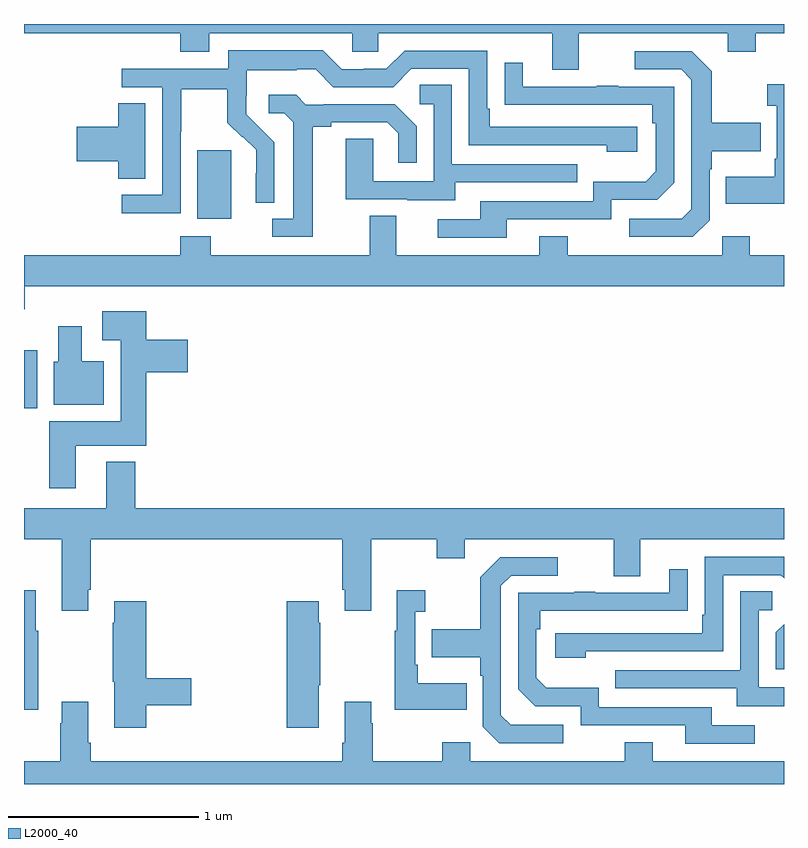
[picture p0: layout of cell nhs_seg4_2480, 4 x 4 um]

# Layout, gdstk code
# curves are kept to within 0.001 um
import gdstk
lib = gdstk.Library(unit=1e-6, precision=1e-09)
def R(c, l, rs):  # rectangles x0, y0, x1, y1
    for r in rs: c.add(gdstk.rectangle(r[:2], r[2:], *l))
def P(c, l, *ps):  # polygons
    for p in ps: c.add(gdstk.Polygon(p, *l))
L2000_40 = (2000, 40)

nhs_seg4_2480 = lib.new_cell('nhs_seg4_2480')
R(nhs_seg4_2480, L2000_40, [(241,762.878,241.069,763.183), (241.913,763.874,242.092,764.235)])
P(nhs_seg4_2480, L2000_40, [(241,764.852),(241.823,764.852),(241.823,764.753),(241.975,764.753),(241.975,764.852),(242.727,764.852),(242.727,764.754),(242.865,764.754),(242.865,764.852),(243.779,764.852),(243.779,764.658),(243.919,764.658),(243.919,764.852),(244.703,764.852),(244.703,764.753),(244.851,764.753),(244.851,764.852),(245,764.852),(245,764.9),(241,764.9)],
  [(241.824,764.332),(241.827,764.332),(241.827,764.556),(242.071,764.556),(242.071,764.381),(242.148,764.304),(242.151,764.307),(242.222,764.237),(242.222,764.114),(242.22,764.114),(242.22,763.96),(242.316,763.96),(242.316,764.278),(242.17,764.426),(242.17,764.523),(242.172,764.523),(242.172,764.657),(242.435,764.657),(242.435,764.661),(242.535,764.661),(242.628,764.568),(242.943,764.568),(243.039,764.664),(243.342,764.664),(243.342,764.262),(244.067,764.262),(244.067,764.228),(244.228,764.228),(244.228,764.358),(243.451,764.358),(243.451,764.455),(243.438,764.455),(243.438,764.76),(243.003,764.76),(242.907,764.664),(242.789,764.664),(242.789,764.661),(242.673,764.661),(242.573,764.761),(242.076,764.761),(242.076,764.664),(241.515,764.664),(241.515,764.568),(241.728,764.568),(241.728,764.001),(241.515,764.001),(241.515,763.903),(241.824,763.903)],
  [(244.608,763.866),(244.608,764.135),(244.621,764.135),(244.621,764.231),(244.877,764.231),(244.877,764.379),(244.621,764.379),(244.621,764.651),(244.515,764.757),(244.215,764.757),(244.215,764.661),(244.458,764.661),(244.512,764.607),(244.512,763.926),(244.461,763.875),(244.185,763.875),(244.185,763.779),(244.521,763.779)],
  [(243.541,763.872),(244.092,763.872),(244.092,763.974),(244.332,763.974),(244.422,764.064),(244.422,764.571),(244.127,764.571),(244.127,764.576),(244.015,764.576),(244.015,764.571),(243.625,764.571),(243.625,764.695),(243.529,764.695),(243.529,764.476),(244.306,764.475),(244.306,764.378),(244.326,764.378),(244.326,764.124),(244.273,764.071),(243.996,764.071),(243.996,763.968),(243.401,763.968),(243.401,763.872),(243.177,763.872),(243.177,763.776),(243.541,763.776)],
  [(245,764.584),(244.911,764.584),(244.911,764.471),(244.962,764.471),(244.962,764.191),(244.95,764.191),(244.95,764.095),(244.693,764.095),(244.693,763.955),(245,763.955)],
  [(243.271,764.067),(243.911,764.067),(243.911,764.163),(243.252,764.163),(243.252,764.579),(243.084,764.579),(243.084,764.478),(243.156,764.478),(243.156,764.073),(242.838,764.073),(242.838,764.297),(242.693,764.297),(242.693,763.977),(243.017,763.977),(243.017,763.973),(243.271,763.973)],
  [(242.521,764.36),(242.617,764.36),(242.617,764.382),(242.912,764.382),(242.969,764.325),(242.969,764.169),(243.066,764.169),(243.066,764.362),(242.95,764.478),(242.578,764.478),(242.578,764.475),(242.484,764.475),(242.432,764.527),(242.289,764.527),(242.289,764.43),(242.37,764.43),(242.417,764.383),(242.417,763.875),(242.307,763.875),(242.307,763.779),(242.521,763.779)],
  [(241.639,764.483),(241.496,764.483),(241.496,764.36),(241.278,764.36),(241.278,764.177),(241.496,764.177),(241.496,764.086),(241.639,764.086)],
  [(245,763.684),(244.821,763.684),(244.821,763.783),(244.674,763.783),(244.674,763.684),(243.861,763.684),(243.861,763.783),(243.713,763.783),(243.713,763.684),(242.959,763.684),(242.959,763.892),(242.819,763.892),(242.819,763.684),(241.983,763.684),(241.983,763.783),(241.823,763.783),(241.823,763.684),(241,763.684),(241,763.4),(241.005,763.4),(241.005,763.52),(245,763.52)],
  [(241.273,762.68),(241.643,762.68),(241.643,763.067),(241.861,763.067),(241.861,763.237),(241.643,763.237),(241.643,763.387),(241.413,763.387),(241.413,763.235),(241.508,763.235),(241.508,762.808),(241.133,762.808),(241.133,762.456),(241.273,762.456)],
  [(241.42,763.126),(241.303,763.126),(241.303,763.309),(241.181,763.309),(241.181,763.122),(241.157,763.122),(241.157,762.896),(241.42,762.896)],
  [(241.339,761.923),(241.352,761.923),(241.352,762.188),(242.675,762.188),(242.675,761.923),(242.687,761.923),(242.687,761.811),(242.827,761.811),(242.827,762.188),(243.172,762.188),(243.172,762.089),(243.319,762.089),(243.319,762.188),(244.103,762.188),(244.103,761.994),(244.243,761.994),(244.243,762.188),(245,762.188),(245,762.352),(241.586,762.352),(241.586,762.595),(241.433,762.595),(241.433,762.352),(241,762.352),(241,762.188),(241.199,762.188),(241.199,761.811),(241.339,761.811)],
  [(243.956,761.598),(244.68,761.598),(244.68,762),(244.983,762),(245,761.983),(245,762.096),(244.584,762.096),(244.584,761.791),(244.571,761.791),(244.571,761.694),(243.795,761.694),(243.795,761.564),(243.956,761.564)],
  [(243.838,761.211),(243.561,761.211),(243.51,761.262),(243.51,761.943),(243.564,761.997),(243.808,761.997),(243.808,762.093),(243.507,762.093),(243.402,761.987),(243.402,761.715),(243.145,761.715),(243.145,761.567),(243.402,761.567),(243.402,761.471),(243.414,761.471),(243.414,761.202),(243.501,761.115),(243.838,761.115)],
  [(244.846,761.208),(244.621,761.208),(244.621,761.304),(244.026,761.304),(244.026,761.407),(243.749,761.407),(243.696,761.46),(243.696,761.714),(243.716,761.714),(243.716,761.811),(244.493,761.812),(244.493,762.031),(244.397,762.031),(244.397,761.907),(244.007,761.907),(244.007,761.912),(243.895,761.912),(243.895,761.907),(243.6,761.907),(243.6,761.4),(243.69,761.31),(243.93,761.31),(243.93,761.208),(244.481,761.208),(244.481,761.112),(244.846,761.112)],
  [(243.329,761.431),(243.073,761.431),(243.073,761.527),(243.06,761.527),(243.06,761.807),(243.112,761.807),(243.112,761.92),(242.963,761.92),(242.963,761.707),(242.952,761.707),(242.952,761.291),(243.329,761.291)],
  [(241.075,761.707),(241.063,761.707),(241.063,761.92),(241,761.92),(241,761.291),(241.075,761.291)],
  [(245,761.409),(244.866,761.409),(244.866,761.814),(244.939,761.814),(244.939,761.915),(244.77,761.915),(244.77,761.499),(244.111,761.499),(244.111,761.403),(244.751,761.403),(244.751,761.309),(245,761.309)],
  [(242.551,761.419),(242.559,761.419),(242.559,761.75),(242.551,761.75),(242.551,761.863),(242.384,761.863),(242.384,761.196),(242.551,761.196)],
  [(241.643,761.314),(241.879,761.314),(241.879,761.456),(241.643,761.456),(241.643,761.863),(241.475,761.863),(241.475,761.75),(241.468,761.75),(241.468,761.439),(241.475,761.439),(241.475,761.196),(241.643,761.196)],
  [(245,761.742),(244.956,761.698),(244.956,761.505),(245,761.505)],
  [(245,761.02),(244.309,761.02),(244.309,761.119),(244.162,761.119),(244.162,761.02),(243.348,761.02),(243.348,761.119),(243.202,761.119),(243.202,761.02),(242.835,761.02),(242.835,761.219),(242.827,761.219),(242.827,761.332),(242.687,761.332),(242.687,761.116),(242.675,761.116),(242.675,761.02),(241.352,761.02),(241.352,761.116),(241.339,761.116),(241.339,761.332),(241.199,761.332),(241.199,761.219),(241.192,761.219),(241.192,761.02),(241,761.02),(241,760.9),(245,760.9)])

lib.write_gds('nhs_seg4_2480.gds')
